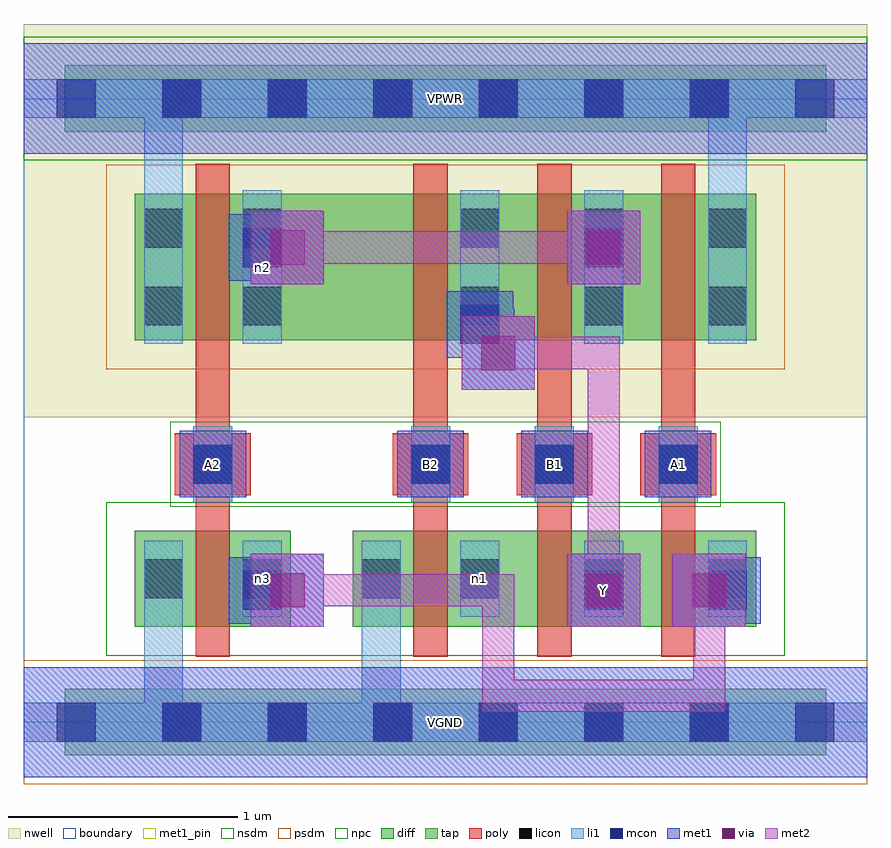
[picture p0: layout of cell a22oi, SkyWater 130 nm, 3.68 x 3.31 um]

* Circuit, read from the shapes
.subckt a22oi A1 A2 B1 B2 VGND VPWR Y n1 n2 n3
XM1 n3 A2 VGND VGND sky130_fd_pr__nfet_01v8 w=0.42 l=0.15
XM2 n1 B2 VGND VGND sky130_fd_pr__nfet_01v8 w=0.42 l=0.15
XM3 Y B1 n1 VGND sky130_fd_pr__nfet_01v8 w=0.42 l=0.15
XM4 n3 A1 Y VGND sky130_fd_pr__nfet_01v8 w=0.42 l=0.15
XM5 n2 A2 VPWR VPWR sky130_fd_pr__pfet_01v8 w=0.64 l=0.15
XM6 Y B2 n2 VPWR sky130_fd_pr__pfet_01v8 w=0.64 l=0.15
XM7 n2 B1 Y VPWR sky130_fd_pr__pfet_01v8 w=0.64 l=0.15
XM8 VPWR A1 n2 VPWR sky130_fd_pr__pfet_01v8 w=0.64 l=0.15
.ends

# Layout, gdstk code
import gdstk
lib = gdstk.Library(unit=1e-6, precision=1e-09)
def R(c, l, rs):  # rectangles x0, y0, x1, y1
    for r in rs: c.add(gdstk.rectangle(r[:2], r[2:], *l))
def A(c, l, x, y, w, h, nx, ny, dx, dy):  # array of equal rectangles
    R(c, l, [(x+i*dx, y+j*dy, x+i*dx+w, y+j*dy+h) for i in range(nx) for j in range(ny)])
nwell = (64, 20)
diff = (65, 20)
tap = (65, 44)
poly = (66, 20)
licon = (66, 44)
li1 = (67, 20)
mcon = (67, 44)
met1_pin = (68, 16)
met1 = (68, 20)
via = (68, 44)
met2 = (69, 20)
nsdm = (93, 44)
psdm = (94, 20)
npc = (95, 20)
boundary = (235, 4)

a22oi = lib.new_cell('a22oi')
R(a22oi, nwell, [(0,1.33,3.68,3.045)])
R(a22oi, diff, [(0.485,0.415,1.165,0.835), (1.435,0.415,3.195,0.835), (0.485,1.665,3.195,2.305)])
R(a22oi, tap, [(0.18,-0.145,3.5,0.145), (0.18,2.575,3.5,2.865)])
A(a22oi, poly, 1.7, 0.285, 0.15, 2.15, 3, 1, 0.54, 0)
A(a22oi, poly, 1.61, 0.99, 0.33, 0.27, 3, 1, 0.54, 0)
R(a22oi, poly, [(0.75,0.285,0.9,2.435), (0.66,0.99,0.99,1.26)])
A(a22oi, licon, 0.605, -0.085, 0.17, 0.17, 6, 2, 0.46, 2.72)
A(a22oi, licon, 1.905, 0.54, 0.17, 0.17, 3, 2, 0.54, 1.19)
A(a22oi, licon, 1.69, 1.04, 0.17, 0.17, 3, 1, 0.54, 0)
A(a22oi, licon, 1.905, 2.07, 0.17, 0.17, 3, 1, 0.54, 0)
R(a22oi, licon, [(0.525,0.54,0.695,0.71), (0.955,0.54,1.125,0.71), (1.475,0.54,1.645,0.71), (0.74,1.04,0.91,1.21), (0.525,1.73,0.695,1.9), (0.955,1.73,1.125,1.9), (0.525,2.07,0.695,2.24), (0.955,2.07,1.125,2.24)])
A(a22oi, li1, 1.905, 0.46, 0.17, 0.33, 3, 1, 0.54, 0)
A(a22oi, li1, 1.69, 0.96, 0.17, 0.33, 3, 1, 0.54, 0)
A(a22oi, li1, 1.905, 1.65, 0.17, 0.67, 3, 1, 0.54, 0)
R(a22oi, li1, [(0,-0.085,3.68,0.085), (0.525,-0.085,0.695,0.79), (1.475,-0.085,1.645,0.79), (0.525,0.46,0.695,0.79), (0.955,0.46,1.125,0.79), (1.475,0.46,1.645,0.79), (0.74,0.96,0.91,1.29), (0.525,1.65,0.695,2.32), (0.525,1.65,0.695,2.805), (0.955,1.65,1.125,2.32), (2.985,1.65,3.155,2.805), (0,2.635,3.68,2.805)])
A(a22oi, mcon, 0.145, -0.085, 0.17, 0.17, 8, 2, 0.46, 2.72)
A(a22oi, mcon, 1.69, 1.04, 0.17, 0.17, 3, 1, 0.54, 0)
R(a22oi, mcon, [(0.955,0.49,1.125,0.66), (2.445,0.49,2.615,0.66), (2.985,0.49,3.155,0.66), (0.74,1.04,0.91,1.21), (1.905,1.65,2.075,1.82), (0.955,1.985,1.125,2.155), (2.445,1.985,2.615,2.155)])
A(a22oi, met1_pin, 1.63, 0.98, 0.29, 0.29, 3, 1, 0.54, 0)
R(a22oi, met1_pin, [(0,-0.24,3.68,0.24), (2.37,0.415,2.69,0.735), (0.68,0.98,0.97,1.27), (0,2.48,3.68,2.96)])
A(a22oi, met1, 1.63, 0.98, 0.29, 0.29, 3, 1, 0.54, 0)
R(a22oi, met1, [(0,-0.24,3.68,0.24), (0.99,0.415,1.31,0.735), (2.37,0.415,2.69,0.735), (2.83,0.415,3.15,0.735), (0.895,0.43,1.185,0.72), (2.385,0.43,2.675,0.72), (2.925,0.43,3.215,0.72), (0.97,0.505,1.22,0.645), (2.92,0.505,3.14,0.645), (0.68,0.98,0.97,1.27), (1.91,1.45,2.23,1.77), (2,1.54,2.14,1.805), (1.845,1.59,2.135,1.88), (1.92,1.665,2.14,1.805), (0.99,1.91,1.31,2.23), (2.37,1.91,2.69,2.23), (0.895,1.925,1.185,2.215), (2.385,1.925,2.675,2.215), (0.97,2,1.22,2.14), (0,2.48,3.68,2.96)])
R(a22oi, via, [(1.075,0.5,1.225,0.65), (2.455,0.5,2.605,0.65), (2.915,0.5,3.065,0.65), (1.995,1.535,2.145,1.685), (1.075,1.995,1.225,2.145), (2.455,1.995,2.605,2.145)])
R(a22oi, met2, [(2,0.045,3.06,0.185), (2,0.045,2.14,0.645), (2.92,0.045,3.06,0.645), (0.99,0.415,1.31,0.735), (2.37,0.415,2.69,0.735), (2.83,0.415,3.15,0.735), (1.08,0.505,2.14,0.645), (2.46,0.505,2.6,1.68), (1.91,1.45,2.23,1.77), (2,1.54,2.6,1.68), (0.99,1.91,1.31,2.23), (2.37,1.91,2.69,2.23), (1.08,2,2.6,2.14)])
R(a22oi, nsdm, [(0.36,0.29,3.32,0.96), (0,2.45,3.68,2.99)])
R(a22oi, psdm, [(0,-0.27,3.68,0.27), (0.36,1.54,3.32,2.43)])
R(a22oi, npc, [(0.64,0.94,3.04,1.31)])
R(a22oi, boundary, [(0,0,3.68,2.72)])
a22oi.add(gdstk.Label('n2', (1.04,1.985), layer=67, texttype=5))
a22oi.add(gdstk.Label('n3', (1.04,0.625), layer=67, texttype=5))
a22oi.add(gdstk.Label('n1', (1.99,0.625), layer=67, texttype=5))
a22oi.add(gdstk.Label('A1', (2.855,1.125), layer=68, texttype=5))
a22oi.add(gdstk.Label('A2', (0.825,1.125), layer=68, texttype=5))
a22oi.add(gdstk.Label('B1', (2.315,1.125), layer=68, texttype=5))
a22oi.add(gdstk.Label('B2', (1.775,1.125), layer=68, texttype=5))
a22oi.add(gdstk.Label('Y', (2.53,0.575), layer=68, texttype=5))
a22oi.add(gdstk.Label('VPWR', (1.84,2.72), layer=68, texttype=5))
a22oi.add(gdstk.Label('VGND', (1.84,0), layer=68, texttype=5))
a22oi.add(gdstk.Label('A1', (2.855,1.125), layer=68, texttype=16))
a22oi.add(gdstk.Label('A2', (0.825,1.125), layer=68, texttype=16))
a22oi.add(gdstk.Label('B1', (2.315,1.125), layer=68, texttype=16))
a22oi.add(gdstk.Label('B2', (1.775,1.125), layer=68, texttype=16))
a22oi.add(gdstk.Label('Y', (2.53,0.575), layer=68, texttype=16))
a22oi.add(gdstk.Label('VPWR', (1.84,2.72), layer=68, texttype=16))
a22oi.add(gdstk.Label('VGND', (1.84,0), layer=68, texttype=16))

lib.write_gds('a22oi.gds')
